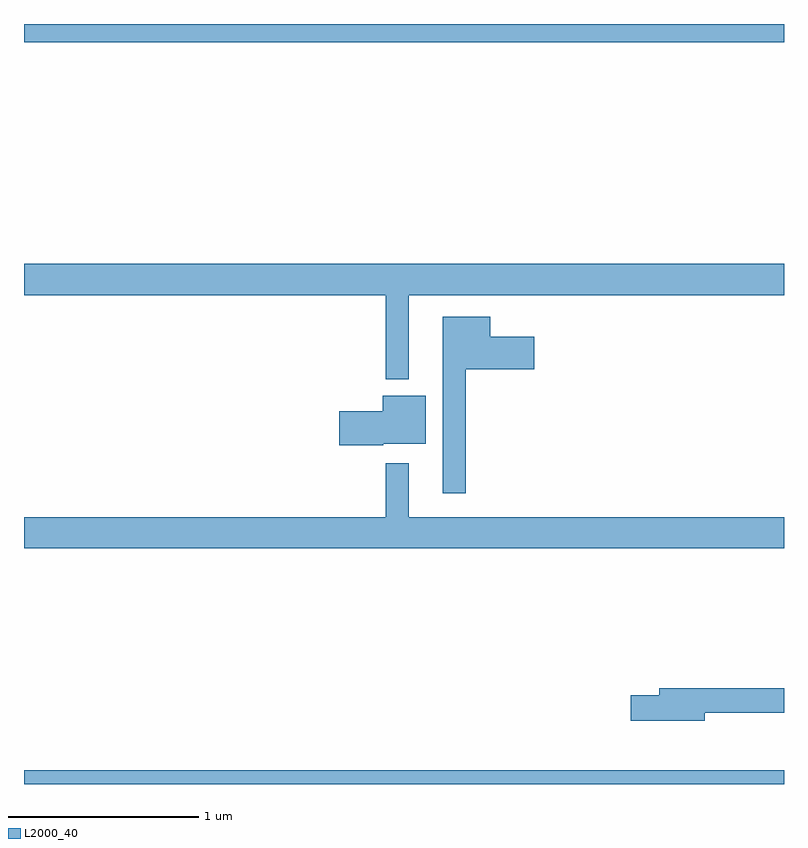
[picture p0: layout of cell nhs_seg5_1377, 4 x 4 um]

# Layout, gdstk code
import gdstk
lib = gdstk.Library(unit=1e-6, precision=1e-09)
def R(c, l, rs):  # rectangles x0, y0, x1, y1
    for r in rs: c.add(gdstk.rectangle(r[:2], r[2:], *l))
def P(c, l, *ps):  # polygons
    for p in ps: c.add(gdstk.Polygon(p, *l))
L2000_40 = (2000, 40)

nhs_seg5_1377 = lib.new_cell('nhs_seg5_1377')
R(nhs_seg5_1377, L2000_40, [(193,908.799,197,908.872), (193,912.704,197,912.799)])
P(nhs_seg5_1377, L2000_40, [(195.025,911.372),(197,911.372),(197,911.536),(193,911.536),(193,911.372),(194.904,911.372),(194.904,910.928),(195.025,910.928)],
  [(195.325,910.982),(195.685,910.982),(195.685,911.152),(195.454,911.152),(195.454,911.257),(195.203,911.257),(195.203,910.329),(195.325,910.329)],
  [(194.892,910.589),(195.115,910.589),(195.115,910.843),(194.888,910.843),(194.888,910.76),(194.658,910.76),(194.658,910.582),(194.892,910.582)],
  [(197,910.204),(195.025,910.204),(195.025,910.486),(194.904,910.486),(194.904,910.204),(193,910.204),(193,910.04),(197,910.04)],
  [(196.582,909.174),(197,909.174),(197,909.302),(196.343,909.302),(196.343,909.266),(196.194,909.266),(196.194,909.131),(196.582,909.131)])

lib.write_gds('nhs_seg5_1377.gds')
